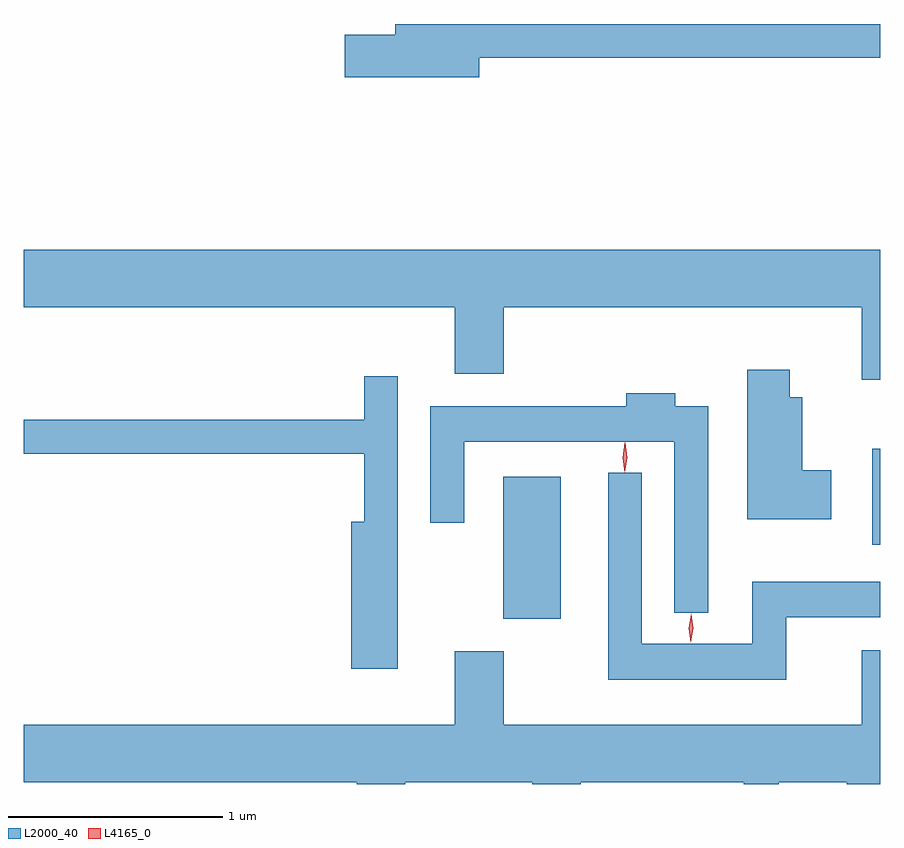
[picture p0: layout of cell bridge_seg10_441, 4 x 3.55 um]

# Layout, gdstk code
import gdstk
lib = gdstk.Library(unit=1e-6, precision=1e-09)
def R(c, l, rs):  # rectangles x0, y0, x1, y1
    for r in rs: c.add(gdstk.rectangle(r[:2], r[2:], *l))
def P(c, l, *ps):  # polygons
    for p in ps: c.add(gdstk.Polygon(p, *l))
L2000_40 = (2000, 40)
L4165_0 = (4165, 0)

bridge_seg10_441 = lib.new_cell('bridge_seg10_441')
R(bridge_seg10_441, L2000_40, [(1443.666,2128.001,1443.934,2128.664), (1445.391,2128.346,1445.427,2128.794)])
P(bridge_seg10_441, L2000_40, [(1443.554,2130.621),(1445.427,2130.621),(1445.427,2130.779),(1443.161,2130.779),(1443.161,2130.729),(1442.926,2130.729),(1442.926,2130.531),(1443.554,2130.531)],
  [(1445.427,2129.724),(1441.427,2129.724),(1441.427,2129.456),(1443.441,2129.456),(1443.441,2129.146),(1443.669,2129.146),(1443.669,2129.456),(1445.341,2129.456),(1445.341,2129.116),(1445.427,2129.116)],
  [(1445.199,2128.694),(1445.064,2128.694),(1445.064,2129.034),(1445.004,2129.034),(1445.004,2129.164),(1444.806,2129.164),(1444.806,2128.466),(1445.199,2128.466)],
  [(1443.174,2129.133),(1443.016,2129.133),(1443.016,2128.929),(1441.427,2128.929),(1441.427,2128.771),(1443.016,2128.771),(1443.016,2128.454),(1442.956,2128.454),(1442.956,2127.766),(1443.174,2127.766)],
  [(1444.624,2128.994),(1444.469,2128.994),(1444.469,2129.054),(1444.241,2129.054),(1444.241,2128.994),(1443.326,2128.994),(1443.326,2128.448),(1443.484,2128.448),(1443.484,2128.826),(1444.466,2128.826),(1444.466,2128.028),(1444.624,2128.028)],
  [(1444.989,2128.006),(1445.427,2128.006),(1445.427,2128.174),(1444.831,2128.174),(1444.831,2127.884),(1444.314,2127.884),(1444.314,2128.683),(1444.156,2128.683),(1444.156,2127.716),(1444.989,2127.716)],
  [(1443.209,2127.236),(1443.801,2127.236),(1443.801,2127.228),(1444.029,2127.228),(1444.029,2127.236),(1444.791,2127.236),(1444.791,2127.228),(1444.954,2127.228),(1444.954,2127.236),(1445.271,2127.236),(1445.271,2127.228),(1445.427,2127.228),(1445.427,2127.854),(1445.341,2127.854),(1445.341,2127.504),(1443.669,2127.504),(1443.669,2127.849),(1443.441,2127.849),(1443.441,2127.504),(1441.427,2127.504),(1441.427,2127.236),(1442.981,2127.236),(1442.981,2127.228),(1443.209,2127.228)])
P(bridge_seg10_441, L4165_0, [(1444.234,2128.684),(1444.225,2128.753),(1444.235,2128.822),(1444.235,2128.823),(1444.236,2128.822),(1444.245,2128.753),(1444.235,2128.684),(1444.235,2128.684)],
  [(1444.542,2127.89),(1444.534,2127.956),(1444.544,2128.022),(1444.545,2128.023),(1444.545,2128.022),(1444.554,2127.956),(1444.543,2127.89),(1444.543,2127.89)])

lib.write_gds('bridge_seg10_441.gds')
